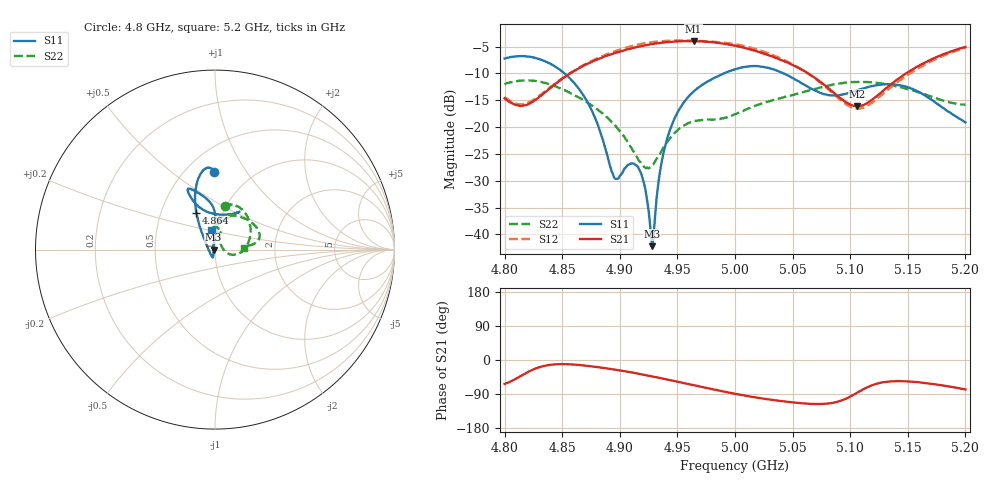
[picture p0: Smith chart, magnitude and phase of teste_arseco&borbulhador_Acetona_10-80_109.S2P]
! Network Analyzer HP8722D
! Hewlett-Packard
! Data name: Linha & Wilkinson
! Saver's name: Rodrigo Anjos
! Comments: Teste da utilização de aquisição
! continua pelo VNA HP8722D
! Time and date: 25/4/2025 16:10
!  Frequency  S11  S21  S12  S22
# HZ  S  MA R 50
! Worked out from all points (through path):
!   401 points, 4.8 GHz to 5.2 GHz, reference 50 ohm
!   highest |S21| = -3.97 dB at 4.964 GHz (marker M1); lowest = -16.1 dB at 5.106 GHz (marker M2)
!   lowest |S11| = -42.2 dB at 4.928 GHz (marker M3), VSWR 1.02, Z = 49.2 - j0.0555 ohm
!   |S11| at or under -10 dB: 4.852 GHz to 4.991 GHz (138.6 MHz wide, 2.82 % of centre); 5.042 GHz to end of sweep
!   |S22| runs from -27.7 to -11.3 dB; largest |S21 - S12| = 1.2
!   S11 on the Smith chart (normalised r, x): 4.8 GHz: 0.68, +0.73; 4.864 GHz: 0.75, +0.33; 5.2 GHz: 0.94, +0.21
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4.8e9  0.4345 90.6  0.1852 -63.4  0.1899 70.1  0.2498 77.1
4.82e9  0.4528 96.9  0.1619 -32.0  0.1676 98.9  0.2715 61.5
4.843e9  0.3709 106.2  0.2472 -11.7  0.2504 118.9  0.2418 36.5
4.864e9  0.2307 116.8  0.3506 -13.0  0.3542 121.0  0.1891 11.7
4.867e9  0.2076 118.5  0.3652 -13.9  0.369 120.6  0.1825 8.3
4.88e9  0.1112 128.9  0.4236 -18.5  0.4344 118.1  0.1472 -5.8
4.895e9  0.0339 -172.9  0.4868 -25.0  0.5031 113.7  0.1062 -15.9
4.909e9  0.04537 -108.5  0.5355 -32.1  0.5621 107.5  0.06635 -14.5
4.917e9  0.03973 -104.4  0.5627 -36.7  0.5896 103.3  0.04799 -0.5
4.922e9  0.02685 -109.7  0.5772 -39.6  0.6031 100.6  0.04196 16.6
4.928e9  0.007759 -175.8  0.5931 -43.3  0.6184 96.9  0.04395 41.8
4.93e9  0.01233 127.2  0.5972 -44.4  0.6202 95.6  0.04656 48.6
4.934e9  0.03309 100.8  0.6053 -47.0  0.6296 93.1  0.05533 58.5
4.945e9  0.1035 90.4  0.6219 -54.0  0.6385 86.0  0.08222 70.0
4.964e9  0.2141 90.8  0.6331 -66.3  0.6374 74.0  0.1131 71.5
5e9  0.345 109.1  0.5732 -89.1  0.5909 50.6  0.1316 88.4
5.03e9  0.3528 115.1  0.4633 -104.4  0.4801 33.7  0.1736 85.3
5.067e9  0.2259 105.2  0.299 -115.9  0.2965 23.6  0.2225 56.9
5.106e9  0.2193 64.4  0.1564 -86.5  0.1484 56.6  0.2626 24.6
5.134e9  0.2503 57.1  0.2431 -56.7  0.2283 88.7  0.2473 12.3
5.169e9  0.1844 70.0  0.4199 -62.2  0.4034 84.7  0.1942 6.8
5.2e9  0.1105 100.6  0.5575 -77.7  0.5455 69.9  0.1612 3.6
